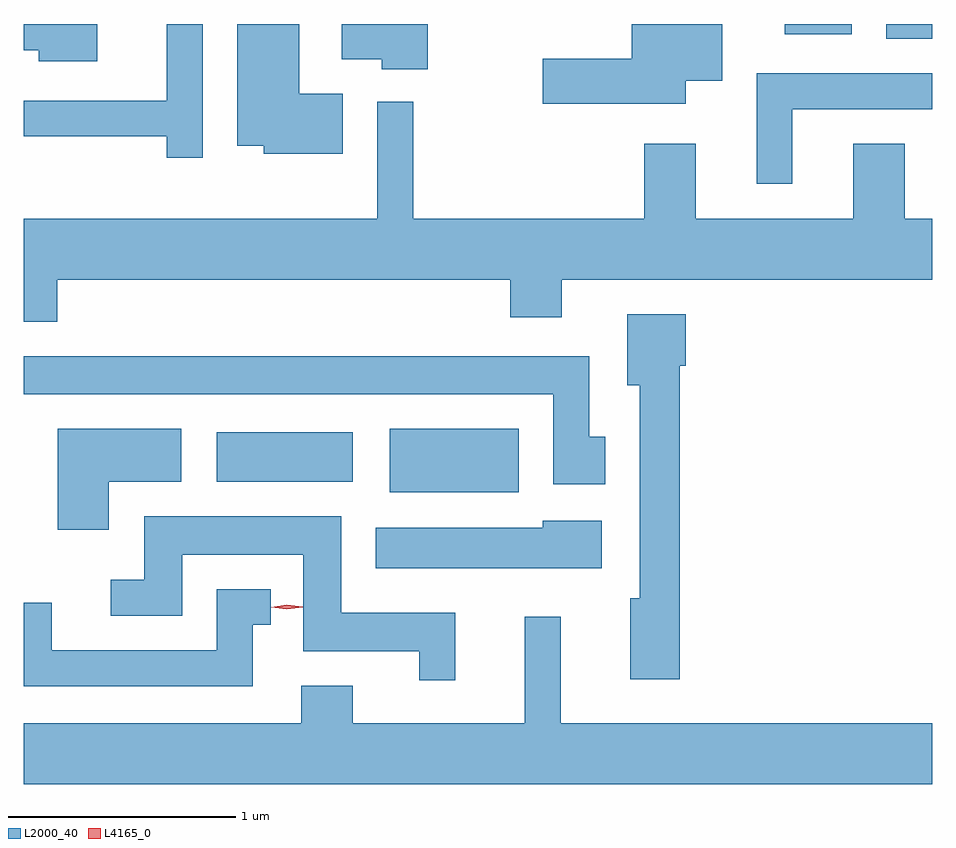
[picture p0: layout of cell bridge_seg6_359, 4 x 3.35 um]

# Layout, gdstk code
import gdstk
lib = gdstk.Library(unit=1e-6, precision=1e-09)
def R(c, l, rs):  # rectangles x0, y0, x1, y1
    for r in rs: c.add(gdstk.rectangle(r[:2], r[2:], *l))
def P(c, l, *ps):  # polygons
    for p in ps: c.add(gdstk.Polygon(p, *l))
L2000_40 = (2000, 40)
L4165_0 = (4165, 0)

bridge_seg6_359 = lib.new_cell('bridge_seg6_359')
R(bridge_seg6_359, L2000_40, [(943.861,1644.561,944.429,1644.839), (943.101,1644.606,943.699,1644.824), (946.046,1646.556,946.25,1646.621), (945.601,1646.576,945.894,1646.621)])
P(bridge_seg6_359, L2000_40, [(943.654,1646.314),(943.464,1646.314),(943.464,1646.621),(943.191,1646.621),(943.191,1646.086),(943.306,1646.086),(943.306,1646.051),(943.654,1646.051)],
  [(942.574,1646.621),(942.25,1646.621),(942.25,1646.506),(942.316,1646.506),(942.316,1646.456),(942.574,1646.456)],
  [(943.039,1646.621),(942.881,1646.621),(942.881,1646.284),(942.25,1646.284),(942.25,1646.126),(942.881,1646.126),(942.881,1646.033),(943.039,1646.033)],
  [(944.029,1646.621),(943.651,1646.621),(943.651,1646.466),(943.826,1646.466),(943.826,1646.421),(944.029,1646.421)],
  [(945.164,1646.371),(945.324,1646.371),(945.324,1646.621),(944.926,1646.621),(944.926,1646.469),(944.536,1646.469),(944.536,1646.271),(945.164,1646.271)],
  [(945.634,1646.246),(946.25,1646.246),(946.25,1646.404),(945.476,1646.404),(945.476,1645.918),(945.634,1645.918)],
  [(942.399,1645.496),(944.391,1645.496),(944.391,1645.331),(944.619,1645.331),(944.619,1645.496),(946.25,1645.496),(946.25,1645.764),(946.129,1645.764),(946.129,1646.094),(945.901,1646.094),(945.901,1645.764),(945.209,1645.764),(945.209,1646.094),(944.981,1646.094),(944.981,1645.764),(943.964,1645.764),(943.964,1646.278),(943.806,1646.278),(943.806,1645.764),(942.25,1645.764),(942.25,1645.311),(942.399,1645.311)],
  [(945.139,1645.116),(945.164,1645.116),(945.164,1645.344),(944.906,1645.344),(944.906,1645.031),(944.961,1645.031),(944.961,1644.094),(944.921,1644.094),(944.921,1643.736),(945.139,1643.736)],
  [(944.809,1644.804),(944.739,1644.804),(944.739,1645.159),(942.25,1645.159),(942.25,1644.991),(944.581,1644.991),(944.581,1644.596),(944.809,1644.596)],
  [(942.624,1644.606),(942.944,1644.606),(942.944,1644.839),(942.401,1644.839),(942.401,1644.396),(942.624,1644.396)],
  [(944.149,1644.029),(943.649,1644.029),(943.649,1644.454),(942.781,1644.454),(942.781,1644.174),(942.633,1644.174),(942.633,1644.016),(942.949,1644.016),(942.949,1644.286),(943.481,1644.286),(943.481,1643.861),(943.991,1643.861),(943.991,1643.733),(944.149,1643.733)],
  [(944.794,1644.434),(944.536,1644.434),(944.536,1644.404),(943.801,1644.404),(943.801,1644.226),(944.794,1644.226)],
  [(943.259,1643.976),(943.338,1643.976),(943.338,1644.134),(943.101,1644.134),(943.101,1643.864),(942.374,1643.864),(942.374,1644.073),(942.25,1644.073),(942.25,1643.706),(943.259,1643.706)],
  [(946.25,1643.544),(944.614,1643.544),(944.614,1644.013),(944.456,1644.013),(944.456,1643.544),(943.699,1643.544),(943.699,1643.709),(943.471,1643.709),(943.471,1643.544),(942.25,1643.544),(942.25,1643.276),(946.25,1643.276)])
P(bridge_seg6_359, L4165_0, [(943.408,1644.045),(943.339,1644.054),(943.339,1644.055),(943.339,1644.055),(943.408,1644.065),(943.478,1644.056),(943.478,1644.056),(943.478,1644.055)])

lib.write_gds('bridge_seg6_359.gds')
